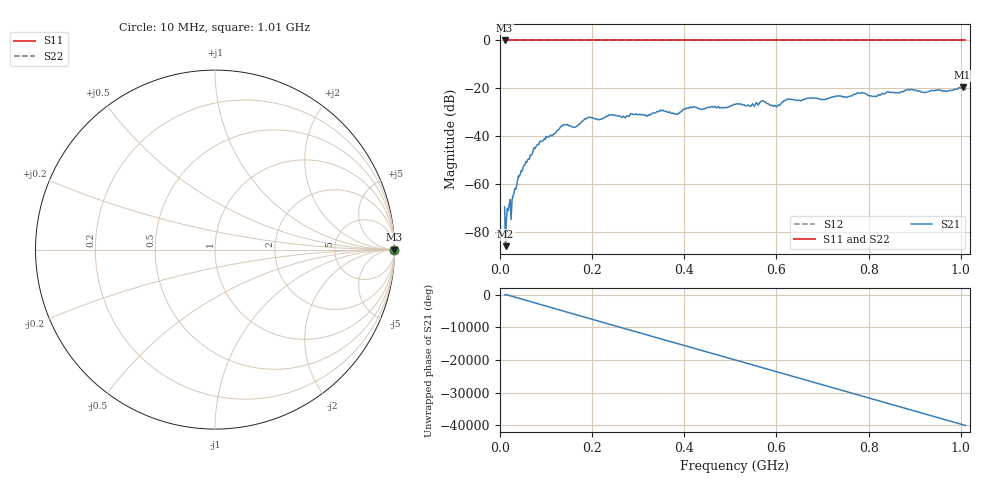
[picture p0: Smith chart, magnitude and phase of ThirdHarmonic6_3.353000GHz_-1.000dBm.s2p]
! 8/17/2025 10:35:26 AM
! C:\ANRITSUVNA\TEMP\TEMP.S2P
! CHANNEL.1
! TR.MEASUREMENT
! RAW.DATA
! RF.CORRECTION.OFF
! AVERAGING.OFF
! IF.BANDWIDTH: 5KHZ
! SWEEPTYPE:  FREQ.SWEEP(Linear)
! Reference Plane Port Info
! PORT:  PORT1  PORT2
! DISTANCE:  0  m  0  m
! TIME:  0  s  0  s
! PHASE.OFFSET:  0  deg.  0  deg.
! LOSS:  0  dB  0  dB
! REF.LOSS:  0  dB  0  dB
! REF.FREQ:  0  Hz  0  Hz
! Power Info
! POWER:  -20  dBm  -20  dBm
! EFF.POWER:  -20  dBm  -20  dBm
! SOURCE.ATTEN:  0  dB  0  dB
! TEST.ATTEN:  0  dB  0  dB
# GHZ S RI R 50.0
! FREQ.GHZ  S11RE  S11IM  S21RE  S21IM  S12RE  S12IM  S22RE  S22IM
!; PortSelection: Port_12
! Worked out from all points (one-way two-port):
!   501 points, 10 MHz to 1.01 GHz, reference 50 ohm
!   highest |S21| = -19.64 dB at 1.004 GHz (marker M1); lowest = -86.1 dB at 12 MHz (marker M2)
!   lowest |S11| = 0.0 dB at 10 MHz (marker M3)
!   |S11| at or under -10 dB: nowhere
!   |S22| runs from 0.0 to 0.0 dB; largest |S21 - S12| = 1.1
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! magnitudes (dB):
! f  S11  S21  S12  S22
! 10 MHz  0.0  -69.6  0.0  0.0
! 12 MHz  0.0  -86.1  0.0  0.0
! 16 MHz  0.0  -70.2  0.0  0.0
! 18 MHz  0.0  -71.2  0.0  0.0
! 28 MHz  0.0  -64.8  0.0  0.0
! 42 MHz  0.0  -57.0  0.0  0.0
! 78 MHz  0.0  -44.5  0.0  0.0
! 136 MHz  0.0  -35.8  0.0  0.0
! 162 MHz  0.0  -36.3  0.0  0.0
! 178 MHz  0.0  -33.8  0.0  0.0
! 344 MHz  0.0  -29.8  0.0  0.0
! 382 MHz  0.0  -30.9  0.0  0.0
! 416 MHz  0.0  -28.1  0.0  0.0
! 510 MHz  0.0  -26.7  0.0  0.0
! 570 MHz  0.0  -25.2  0.0  0.0
! 596 MHz  0.0  -27.1  0.0  0.0
! 624 MHz  0.0  -24.5  0.0  0.0
! 678 MHz  0.0  -24.1  0.0  0.0
! 814 MHz  0.0  -23.3  0.0  0.0
! 844 MHz  0.0  -21.7  0.0  0.0
! 1.004 GHz  0.0  -19.6  0.0  0.0
! 1.01 GHz  0.0  -20.4  0.0  0.0
